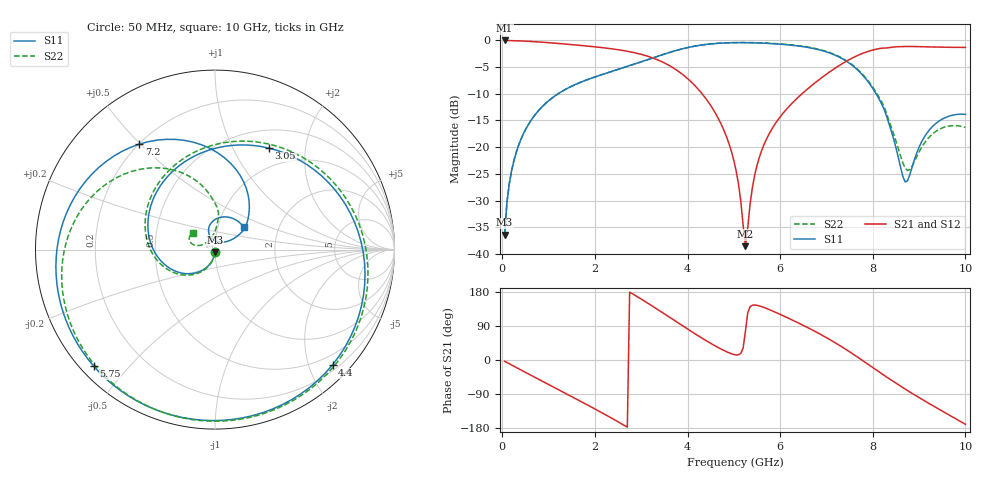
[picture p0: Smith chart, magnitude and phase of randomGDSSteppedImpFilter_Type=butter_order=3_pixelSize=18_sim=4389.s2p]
! freq	dB(S11)	phase(S11)	dB(S12)	phase(S12)
!  dB(S21)	phase(S21)	dB(S22)	phase(S22)
!S-par simulation data
#  GHz  S  DB  R 50
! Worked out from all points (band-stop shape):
!   200 points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, 50 MHz to 10 GHz, reference 50 ohm
!   highest |S21| = -0.01 dB at 50 MHz (marker M1); lowest = -38.5 dB at 5.25 GHz (marker M2)
!   |S21| within 3 dB of the highest: start of sweep to 3.156 GHz; 7.627 GHz to end of sweep
!   lowest |S11| = -36.4 dB at 50 MHz (marker M3), VSWR 1.03, Z = 49.9 - j1.51 ohm
!   |S11| at or under -10 dB: start of sweep to 1.205 GHz; 8.071 GHz to end of sweep
!   |S22| runs from -36.4 to -0.4 dB; largest |S21 - S12| = 0
!   S11 on the Smith chart (normalised r, x): 50 MHz: 1.00, -0.03; 3.05 GHz: 0.73, +1.40; 4.4 GHz: 0.30, -2.42; 5.75 GHz: 0.04, -0.40; 7.2 GHz: 0.20, +0.50; 10 GHz: 1.33, +0.34
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0.05  -36.41 -93.1  -0.01 -3.3  -0.01 -3.3  -36.43 -92.9
0.2  -24.45 -103.5  -0.04 -13.1  -0.04 -13.1  -24.44 -102.6
0.5  -16.73 -124.1  -0.14 -32.6  -0.14 -32.6  -16.73 -122.0
1.15  -10.32 -167.3  -0.52 -74.4  -0.52 -74.4  -10.31 -162.7
1.75  -7.63 153.1  -0.98 -112.8  -0.98 -112.8  -7.64 159.8
2.45  -5.58 105.5  -1.67 -159.6  -1.67 -159.6  -5.59 113.7
3.05  -3.87 61.9  -2.73 156.9  -2.73 156.9  -3.88 70.0
3.4  -2.84 34.9  -3.81 129.7  -3.81 129.7  -2.84 42.5
3.9  -1.55 -5.1  -6.42 89.7  -6.42 89.7  -1.55 2.0
4.4  -0.75 -44.4  -10.95 51.2  -10.95 51.2  -0.74 -37.2
5.05  -0.42 -91.0  -24.46 13.4  -24.46 13.4  -0.39 -82.2
5.25  -0.42 -104.3  -38.55 75.7  -38.55 75.7  -0.39 -94.6
5.45  -0.46 -117.2  -25.25 145.2  -25.25 145.2  -0.42 -106.5
5.75  -0.56 -136.1  -17.70 133.8  -17.70 133.8  -0.52 -123.6
6.25  -0.90 -167.6  -11.83 106.2  -11.83 106.2  -0.84 -151.1
6.7  -1.48 162.6  -8.31 78.9  -8.31 78.9  -1.41 -176.3
7.2  -2.81 125.8  -5.13 44.7  -5.13 44.7  -2.72 153.4
7.85  -7.20 71.3  -2.20 -7.2  -2.20 -7.2  -7.03 110.7
8.35  -15.62 32.2  -1.35 -48.9  -1.35 -48.9  -15.05 84.1
8.7  -26.52 67.9  -1.14 -76.7  -1.14 -76.7  -23.95 116.0
9.25  -16.49 98.2  -1.22 -117.3  -1.22 -117.3  -17.84 166.6
10  -13.85 37.4  -1.31 -169.7  -1.31 -169.7  -16.31 143.4
